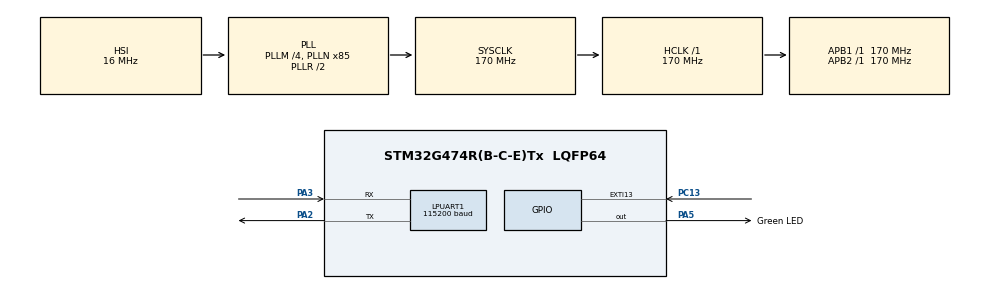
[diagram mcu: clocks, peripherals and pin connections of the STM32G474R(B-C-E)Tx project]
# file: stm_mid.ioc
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LPUART1.BaudRate=115200
Mcu.Family=STM32G4
Mcu.Name=STM32G474R(B-C-E)Tx
Mcu.Package=LQFP64
NVIC.EXTI15_10_IRQn=true\:0\:0\:false\:false\:true\:true\:true\:true
NVIC.LPUART1_IRQn=true\:0\:0\:false\:false\:true\:true\:true\:true
NVIC.PriorityGroup=NVIC_PRIORITYGROUP_4
NVIC.TIM2_IRQn=true\:0\:0\:false\:false\:true\:true\:true\:true
PA2.Mode=Asynchronous
PA2.Signal=LPUART1_TX
PA3.Mode=Asynchronous
PA3.Signal=LPUART1_RX
PA5.GPIO_Label=Green LED
PA5.Signal=GPIO_Output
PC13.Signal=GPXTI13
ProjectManager.HeapSize=0x200
ProjectManager.StackSize=0x400
ProjectManager.TargetToolchain=STM32CubeIDE
RCC.ADC12Freq_Value=170000000
RCC.ADC345Freq_Value=170000000
RCC.AHBFreq_Value=170000000
RCC.APB1Freq_Value=170000000
RCC.APB1TimFreq_Value=170000000
RCC.APB2Freq_Value=170000000
RCC.APB2TimFreq_Value=170000000
RCC.CortexFreq_Value=170000000
RCC.EXTERNAL_CLOCK_VALUE=12288000
RCC.HCLKFreq_Value=170000000
RCC.HSE_VALUE=8000000
RCC.HSI48_VALUE=48000000
RCC.HSI_VALUE=16000000
RCC.LSE_VALUE=32768
RCC.PLLM=RCC_PLLM_DIV4
RCC.PLLN=85
RCC.SYSCLKFreq_VALUE=170000000
RCC.SYSCLKSource=RCC_SYSCLKSOURCE_PLLCLK
RCC.USBFreq_Value=170000000
RCC.VCOOutputFreq_Value=340000000
TIM2.PeriodNoDither=1000-1
TIM2.Prescaler=170-1
VP_SYS_VS_DBSignals.Mode=DisableDeadBatterySignals
VP_TIM2_VS_ClockSourceINT.Mode=Internal
board=custom

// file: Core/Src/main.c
/* USER CODE BEGIN Header */
/**
  ******************************************************************************
  * @file           : main.c
  * @brief          : Main program body
  ******************************************************************************
  * @attention
  *
  * Copyright (c) 2026 STMicroelectronics.
  * All rights reserved.
  *
  * This software is licensed under terms that can be found in the LICENSE file
  * in the root directory of this software component.
  * If no LICENSE file comes with this software, it is provided AS-IS.
  *
  ******************************************************************************
  */
/* USER CODE END Header */
#include "main.h"

/* USER CODE BEGIN Includes */
#include <stdio.h>
#include <stdbool.h>
/* USER CODE END Includes */

UART_HandleTypeDef hlpuart1;

TIM_HandleTypeDef htim2;

/* USER CODE BEGIN PV */
#define RX_BUF_SIZE 16
volatile uint8_t rx_buf[RX_BUF_SIZE];
volatile uint8_t rx_head = 0;
volatile uint8_t rx_tail = 0;
uint8_t rx_byte;
volatile uint8_t battery_level = 50;
volatile uint8_t charge_seconds = 0;
volatile bool is_safe_mode = false;
volatile uint16_t ms_timer = 0;
volatile bool flag_1s = false;
volatile uint8_t pwm_counter = 0;
volatile uint32_t last_button_time = 0;
/* USER CODE END PV */

void SystemClock_Config(void);
static void MX_GPIO_Init(void);
static void MX_LPUART1_UART_Init(void);
static void MX_TIM2_Init(void);

/* USER CODE BEGIN 0 */
#ifdef __GNUC__
#define PUTCHAR_PROTOTYPE int __io_putchar(int ch)
#else
#define PUTCHAR_PROTOTYPE int fputc(int ch, FILE *f)
#endif

PUTCHAR_PROTOTYPE
{
  // Redirect printf to LPUART1
  HAL_UART_Transmit(&hlpuart1, (uint8_t *)&ch, 1, 0xFFFF);
  return ch;
}
/* USER CODE END 0 */

int main(void)
{

  /* MCU Configuration--------------------------------------------------------*/

  /* Reset of all peripherals, Initializes the Flash interface and the Systick. */
  HAL_Init();

  /* Configure the system clock */
  SystemClock_Config();

  /* Initialize all configured peripherals */
  MX_GPIO_Init();
  MX_LPUART1_UART_Init();
  MX_TIM2_Init();
  /* USER CODE BEGIN 2 */
  HAL_UART_Receive_IT(&hlpuart1, &rx_byte, 1);

    HAL_TIM_Base_Start_IT(&htim2);

    printf("[INFO] System Initialized.\r\n");
  /* USER CODE END 2 */

  /* Infinite loop */
  /* USER CODE BEGIN WHILE */
  while (1)
  {
	  while (rx_tail != rx_head)
	        {
	            uint8_t cmd = rx_buf[rx_tail];
	            rx_tail = (rx_tail + 1) % RX_BUF_SIZE;

	            if (cmd == '+')
	            {
	                if (battery_level <= 90) battery_level += 10;
	                else battery_level = 100;
	                printf("[CMD] Battery Increased: %d%%\r\n", battery_level);
	            }
	            else if (cmd == '-')
	            {
	                if (battery_level >= 10) battery_level -= 10;
	                else battery_level = 0;
	                printf("[CMD] Battery Decreased: %d%%\r\n", battery_level);
	            }
	        }

	        // 2. Process 1-Second Tick and 15-Second Protection Logic
	        if (flag_1s)
	        {
	            flag_1s = false; // Clear flag

	            if (!is_safe_mode)
	            {
	                charge_seconds++;
	                printf("Timer: %d / 15 s | Battery: %d%%\r\n", charge_seconds, battery_level);

	                if (charge_seconds >= 15)
	                {
	                    is_safe_mode = true;
	                    printf("[WARN] 15s Timeout Reached! Safe Mode.\r\n");
	                }
	            }
	            else
	            {
	                // Optional: Print status even in safe mode
	                printf("[STATUS] Safe Mode Active. Press Button to Reset.\r\n");
	            }
	        }
    /* USER CODE END WHILE */

  }
}

void SystemClock_Config(void)
{
  RCC_OscInitTypeDef RCC_OscInitStruct = {0};
  RCC_ClkInitTypeDef RCC_ClkInitStruct = {0};

  /** Configure the main internal regulator output voltage
  */
  HAL_PWREx_ControlVoltageScaling(PWR_REGULATOR_VOLTAGE_SCALE1_BOOST);

  /** Initializes the RCC Oscillators according to the specified parameters
  * in the RCC_OscInitTypeDef structure.
  */
  RCC_OscInitStruct.OscillatorType = RCC_OSCILLATORTYPE_HSI;
  RCC_OscInitStruct.HSIState = RCC_HSI_ON;
  RCC_OscInitStruct.HSICalibrationValue = RCC_HSICALIBRATION_DEFAULT;
  RCC_OscInitStruct.PLL.PLLState = RCC_PLL_ON;
  RCC_OscInitStruct.PLL.PLLSource = RCC_PLLSOURCE_HSI;
  RCC_OscInitStruct.PLL.PLLM = RCC_PLLM_DIV4;
  RCC_OscInitStruct.PLL.PLLN = 85;
  RCC_OscInitStruct.PLL.PLLP = RCC_PLLP_DIV2;
  RCC_OscInitStruct.PLL.PLLQ = RCC_PLLQ_DIV2;
  RCC_OscInitStruct.PLL.PLLR = RCC_PLLR_DIV2;
  if (HAL_RCC_OscConfig(&RCC_OscInitStruct) != HAL_OK)
  {
    Error_Handler();
  }

  /** Initializes the CPU, AHB and APB buses clocks
  */
  RCC_ClkInitStruct.ClockType = RCC_CLOCKTYPE_HCLK|RCC_CLOCKTYPE_SYSCLK
                              |RCC_CLOCKTYPE_PCLK1|RCC_CLOCKTYPE_PCLK2;
  RCC_ClkInitStruct.SYSCLKSource = RCC_SYSCLKSOURCE_PLLCLK;
  RCC_ClkInitStruct.AHBCLKDivider = RCC_SYSCLK_DIV1;
  RCC_ClkInitStruct.APB1CLKDivider = RCC_HCLK_DIV1;
  RCC_ClkInitStruct.APB2CLKDivider = RCC_HCLK_DIV1;

  if (HAL_RCC_ClockConfig(&RCC_ClkInitStruct, FLASH_LATENCY_4) != HAL_OK)
  {
    Error_Handler();
  }
}

static void MX_LPUART1_UART_Init(void)
{

  hlpuart1.Instance = LPUART1;
  hlpuart1.Init.BaudRate = 115200;
  hlpuart1.Init.WordLength = UART_WORDLENGTH_8B;
  hlpuart1.Init.StopBits = UART_STOPBITS_1;
  hlpuart1.Init.Parity = UART_PARITY_NONE;
  hlpuart1.Init.Mode = UART_MODE_TX_RX;
  hlpuart1.Init.HwFlowCtl = UART_HWCONTROL_NONE;
  hlpuart1.Init.OneBitSampling = UART_ONE_BIT_SAMPLE_DISABLE;
  hlpuart1.Init.ClockPrescaler = UART_PRESCALER_DIV1;
  hlpuart1.AdvancedInit.AdvFeatureInit = UART_ADVFEATURE_NO_INIT;
  if (HAL_UART_Init(&hlpuart1) != HAL_OK)
  {
    Error_Handler();
  }
  if (HAL_UARTEx_SetTxFifoThreshold(&hlpuart1, UART_TXFIFO_THRESHOLD_1_8) != HAL_OK)
  {
    Error_Handler();
  }
  if (HAL_UARTEx_SetRxFifoThreshold(&hlpuart1, UART_RXFIFO_THRESHOLD_1_8) != HAL_OK)
  {
    Error_Handler();
  }
  if (HAL_UARTEx_DisableFifoMode(&hlpuart1) != HAL_OK)
  {
    Error_Handler();
  }

}

static void MX_TIM2_Init(void)
{

  TIM_ClockConfigTypeDef sClockSourceConfig = {0};
  TIM_MasterConfigTypeDef sMasterConfig = {0};

  htim2.Instance = TIM2;
  htim2.Init.Prescaler = 170-1;
  htim2.Init.CounterMode = TIM_COUNTERMODE_UP;
  htim2.Init.Period = 999;
  htim2.Init.ClockDivision = TIM_CLOCKDIVISION_DIV1;
  htim2.Init.AutoReloadPreload = TIM_AUTORELOAD_PRELOAD_DISABLE;
  if (HAL_TIM_Base_Init(&htim2) != HAL_OK)
  {
    Error_Handler();
  }
  sClockSourceConfig.ClockSource = TIM_CLOCKSOURCE_INTERNAL;
  if (HAL_TIM_ConfigClockSource(&htim2, &sClockSourceConfig) != HAL_OK)
  {
    Error_Handler();
  }
  sMasterConfig.MasterOutputTrigger = TIM_TRGO_RESET;
  sMasterConfig.MasterSlaveMode = TIM_MASTERSLAVEMODE_DISABLE;
  if (HAL_TIMEx_MasterConfigSynchronization(&htim2, &sMasterConfig) != HAL_OK)
  {
    Error_Handler();
  }

}

static void MX_GPIO_Init(void)
{
  GPIO_InitTypeDef GPIO_InitStruct = {0};

  /* GPIO Ports Clock Enable */
  __HAL_RCC_GPIOC_CLK_ENABLE();
  __HAL_RCC_GPIOA_CLK_ENABLE();

  /*Configure GPIO pin Output Level */
  HAL_GPIO_WritePin(Green_LED_GPIO_Port, Green_LED_Pin, GPIO_PIN_RESET);

  /*Configure GPIO pin : PC13 */
  GPIO_InitStruct.Pin = GPIO_PIN_13;
  GPIO_InitStruct.Mode = GPIO_MODE_IT_RISING;
  GPIO_InitStruct.Pull = GPIO_NOPULL;
  HAL_GPIO_Init(GPIOC, &GPIO_InitStruct);

  /*Configure GPIO pin : Green_LED_Pin */
  GPIO_InitStruct.Pin = Green_LED_Pin;
  GPIO_InitStruct.Mode = GPIO_MODE_OUTPUT_PP;
  GPIO_InitStruct.Pull = GPIO_NOPULL;
  GPIO_InitStruct.Speed = GPIO_SPEED_FREQ_LOW;
  HAL_GPIO_Init(Green_LED_GPIO_Port, &GPIO_InitStruct);

  /* EXTI interrupt init*/
  HAL_NVIC_SetPriority(EXTI15_10_IRQn, 0, 0);
  HAL_NVIC_EnableIRQ(EXTI15_10_IRQn);

}

/* USER CODE BEGIN 4 */
void HAL_UART_RxCpltCallback(UART_HandleTypeDef *huart)
{
    if (huart->Instance == LPUART1)
    {
        // Store received byte into ring buffer
        uint8_t next_head = (rx_head + 1) % RX_BUF_SIZE;
        if (next_head != rx_tail)
        {
            rx_buf[rx_head] = rx_byte;
            rx_head = next_head;
        }

        // Re-arm interrupt for next byte
        HAL_UART_Receive_IT(&hlpuart1, &rx_byte, 1);
    }
}

// --- TIM Period Elapsed Callback (1ms Tick for Timer & Software PWM) ---
void HAL_TIM_PeriodElapsedCallback(TIM_HandleTypeDef *htim)
{
    if (htim->Instance == TIM2)
    {
        // 1. Manage 1-Second Timer
        ms_timer++;
        if (ms_timer >= 1000)
        {
            ms_timer = 0;
            flag_1s = true;
        }

        // 2. Software PWM for PA5 (Green LED)
        // PWM Period = 100ms (100 steps of 1ms)
        pwm_counter++;
        if (pwm_counter >= 100)
        {
            pwm_counter = 0;
        }

        // Determine target brightness
        uint8_t target_brightness = is_safe_mode ? 1 : battery_level;

        // Set LED output based on PWM counter
        if (pwm_counter < target_brightness)
        {
            HAL_GPIO_WritePin(GPIOA, GPIO_PIN_5, GPIO_PIN_SET);
        }
        else
        {
            HAL_GPIO_WritePin(GPIOA, GPIO_PIN_5, GPIO_PIN_RESET);
        }
    }
}

// --- EXTI Callback (Button Reset with Debounce) ---
void HAL_GPIO_EXTI_Callback(uint16_t GPIO_Pin)
{
    if (GPIO_Pin == GPIO_PIN_13) // PC13
    {
        uint32_t current_time = HAL_GetTick(); // Using SysTick for debounce

        // 150ms Software Debounce
        if (current_time - last_button_time >= 150)
        {
            last_button_time = current_time;

            // Reset System States
            battery_level = 100;
            charge_seconds = 0;
            is_safe_mode = false;
            ms_timer = 0; // Synchronize 1s timer

            printf("[INFO] System Reset! Battery: 100%%, Timer: 0 / 15 s\r\n");
        }
    }
}
/* USER CODE END 4 */

void Error_Handler(void)
{
  __disable_irq();
  while (1)
  {
  }
}
